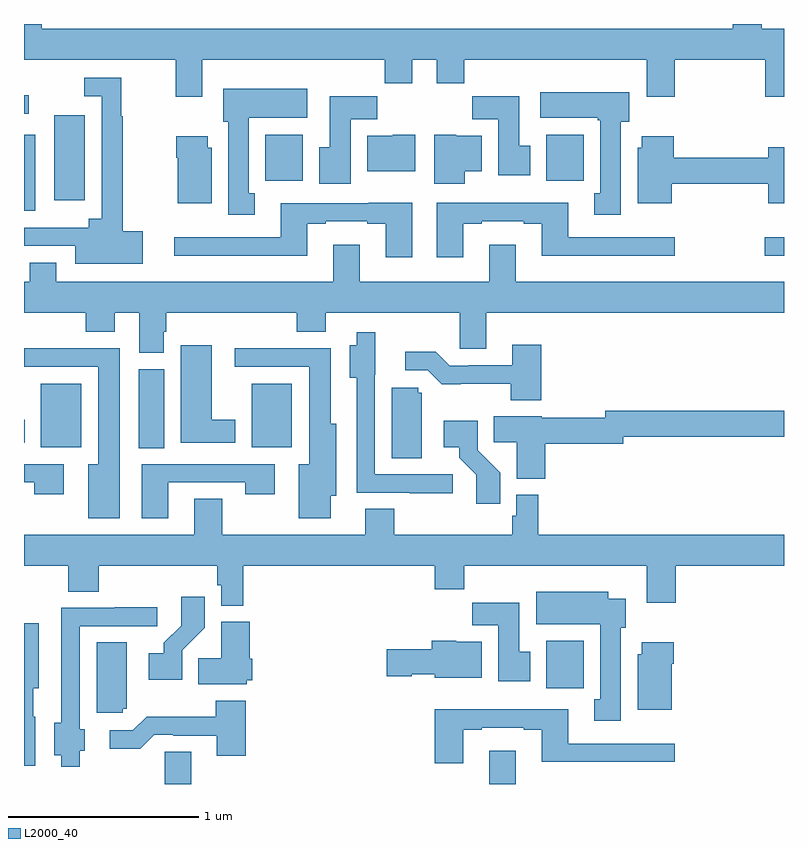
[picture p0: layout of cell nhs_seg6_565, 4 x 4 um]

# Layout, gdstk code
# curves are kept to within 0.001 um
import gdstk
lib = gdstk.Library(unit=1e-6, precision=1e-09)
def R(c, l, rs):  # rectangles x0, y0, x1, y1
    for r in rs: c.add(gdstk.rectangle(r[:2], r[2:], *l))
def P(c, l, *ps):  # polygons
    for p in ps: c.add(gdstk.Polygon(p, *l))
L2000_40 = (2000, 40)

nhs_seg6_565 = lib.new_cell('nhs_seg6_565')
R(nhs_seg6_565, L2000_40, [(145.74,967.5,145.879,967.67), (147.449,967.5,147.589,967.675), (147.749,968.004,147.945,968.254), (145.604,969.268,145.738,969.684), (145.088,969.272,145.3,969.607), (146.198,969.272,146.41,969.607), (145,969.296,145.003,969.418), (148.899,970.28,149,970.377), (145,970.517,145.06,970.918), (145.16,970.572,145.321,971.02), (146.27,970.676,146.467,970.918), (147.749,970.676,147.946,970.918), (145,971.028,145.024,971.124)])
P(nhs_seg6_565, L2000_40, [(145.093,971.5),(145,971.5),(145,971.312),(145.799,971.312),(145.799,971.118),(145.939,971.118),(145.939,971.312),(146.899,971.312),(146.899,971.188),(147.043,971.188),(147.043,971.312),(147.173,971.312),(147.173,971.188),(147.317,971.188),(147.317,971.312),(148.277,971.312),(148.277,971.118),(148.425,971.118),(148.425,971.312),(148.9,971.312),(148.9,971.118),(149,971.118),(149,971.476),(148.882,971.476),(148.882,971.5),(148.73,971.5),(148.73,971.476),(145.093,971.476)],
  [(145.624,970.409),(145.519,970.409),(145.519,971.014),(145.511,971.014),(145.511,971.217),(145.317,971.217),(145.317,971.121),(145.41,971.121),(145.41,970.474),(145.34,970.474),(145.34,970.428),(145,970.428),(145,970.332),(145.271,970.332),(145.271,970.238),(145.624,970.238)],
  [(146.215,970.61),(146.182,970.61),(146.182,971.006),(146.491,971.006),(146.491,971.158),(146.048,971.158),(146.048,970.986),(146.075,970.986),(146.075,970.497),(146.215,970.497)],
  [(148.141,970.986),(148.186,970.986),(148.186,971.14),(147.717,971.14),(147.717,971.006),(148.021,971.006),(148.021,970.993),(148.034,970.993),(148.034,970.61),(148.001,970.61),(148.001,970.497),(148.141,970.497)],
  [(146.719,971),(146.858,971),(146.858,971.119),(146.609,971.119),(146.609,970.852),(146.555,970.852),(146.555,970.659),(146.719,970.659)],
  [(147.664,970.86),(147.607,970.86),(147.607,971.119),(147.358,971.119),(147.358,971),(147.497,971),(147.497,970.704),(147.664,970.704)],
  [(147.058,970.918),(146.94,970.918),(146.94,970.912),(146.807,970.912),(146.807,970.724),(147.058,970.724)],
  [(147.319,970.724),(147.409,970.724),(147.409,970.912),(147.276,970.912),(147.276,970.918),(147.158,970.918),(147.158,970.659),(147.319,970.659)],
  [(145.987,970.848),(145.966,970.848),(145.966,970.909),(145.801,970.909),(145.801,970.796),(145.808,970.796),(145.808,970.556),(145.987,970.556)],
  [(148.408,970.66),(148.916,970.66),(148.916,970.556),(149,970.556),(149,970.852),(148.916,970.852),(148.916,970.796),(148.421,970.796),(148.421,970.909),(148.25,970.909),(148.25,970.848),(148.229,970.848),(148.229,970.556),(148.408,970.556)],
  [(147.043,970.558),(146.815,970.558),(146.815,970.557),(146.351,970.557),(146.351,970.377),(145.791,970.377),(145.791,970.28),(146.491,970.28),(146.491,970.449),(146.587,970.449),(146.587,970.461),(146.807,970.461),(146.807,970.449),(146.903,970.449),(146.903,970.272),(147.043,970.272)],
  [(147.313,970.449),(147.409,970.449),(147.409,970.461),(147.629,970.461),(147.629,970.449),(147.725,970.449),(147.725,970.28),(148.426,970.28),(148.426,970.377),(147.865,970.377),(147.865,970.558),(147.173,970.558),(147.173,970.272),(147.313,970.272)],
  [(145.735,969.879),(145.748,969.879),(145.748,969.98),(146.435,969.98),(146.435,969.881),(146.587,969.881),(146.587,969.98),(147.294,969.98),(147.294,969.79),(147.433,969.79),(147.433,969.98),(149,969.98),(149,970.144),(147.589,970.144),(147.589,970.339),(147.449,970.339),(147.449,970.144),(146.767,970.144),(146.767,970.339),(146.627,970.339),(146.627,970.144),(145.171,970.144),(145.171,970.243),(145.031,970.243),(145.031,970.144),(145,970.144),(145,969.98),(145.325,969.98),(145.325,969.881),(145.477,969.881),(145.477,969.98),(145.607,969.98),(145.607,969.769),(145.735,969.769)],
  [(147.256,969.129),(146.847,969.129),(146.847,969.654),(146.848,969.654),(146.848,969.877),(146.75,969.877),(146.75,969.808),(146.714,969.808),(146.714,969.638),(146.751,969.638),(146.751,969.033),(147.031,969.033),(147.031,969.031),(147.256,969.031)],
  [(147.722,969.811),(147.569,969.811),(147.569,969.705),(147.34,969.705),(147.34,969.702),(147.24,969.702),(147.167,969.775),(147.006,969.775),(147.006,969.678),(147.126,969.678),(147.199,969.605),(147.562,969.606),(147.562,969.521),(147.722,969.521)],
  [(146.113,969.418),(145.987,969.418),(145.987,969.808),(145.826,969.808),(145.826,969.296),(146.113,969.296)],
  [(146.614,969.017),(146.644,969.017),(146.644,969.397),(146.614,969.397),(146.614,969.794),(146.109,969.794),(146.109,969.696),(146.501,969.696),(146.501,969.184),(146.447,969.184),(146.447,968.898),(146.614,968.898)],
  [(145.504,969.794),(145,969.794),(145,969.696),(145.391,969.696),(145.391,969.184),(145.337,969.184),(145.337,968.898),(145.504,968.898)],
  [(147.094,969.558),(147.075,969.558),(147.075,969.585),(146.936,969.585),(146.936,969.214),(147.094,969.214)],
  [(147.743,969.292),(148.155,969.292),(148.155,969.328),(149,969.328),(149,969.464),(148.059,969.464),(148.059,969.428),(147.726,969.428),(147.726,969.436),(147.472,969.436),(147.472,969.298),(147.593,969.298),(147.593,969.107),(147.743,969.107)],
  [(147.506,969.138),(147.387,969.257),(147.387,969.412),(147.21,969.412),(147.21,969.272),(147.29,969.272),(147.29,969.217),(147.381,969.127),(147.381,968.976),(147.506,968.976)],
  [(145.21,969.183),(145,969.183),(145,969.087),(145.054,969.087),(145.054,969.024),(145.21,969.024)],
  [(145.759,969.087),(146.164,969.087),(146.164,969.024),(146.32,969.024),(146.32,969.183),(145.619,969.183),(145.619,968.898),(145.759,968.898)],
  [(146.153,968.648),(147.161,968.648),(147.161,968.524),(147.317,968.524),(147.317,968.648),(148.277,968.648),(148.277,968.454),(148.43,968.454),(148.43,968.648),(149,968.648),(149,968.812),(147.707,968.812),(147.707,969.022),(147.591,969.022),(147.591,968.913),(147.571,968.913),(147.571,968.812),(146.948,968.812),(146.948,968.948),(146.795,968.948),(146.795,968.812),(146.043,968.812),(146.043,969.002),(145.895,969.002),(145.895,968.812),(145,968.812),(145,968.648),(145.234,968.648),(145.234,968.512),(145.394,968.512),(145.394,968.648),(146.017,968.648),(146.017,968.547),(146.037,968.547),(146.037,968.438),(146.153,968.438)],
  [(148.141,968.322),(148.168,968.322),(148.168,968.476),(148.075,968.476),(148.075,968.512),(147.695,968.512),(147.695,968.342),(148.034,968.342),(148.034,967.945),(148.001,967.945),(148.001,967.833),(148.141,967.833)],
  [(145.833,968.203),(145.952,968.322),(145.952,968.485),(145.827,968.485),(145.827,968.333),(145.736,968.243),(145.736,968.188),(145.656,968.188),(145.656,968.048),(145.833,968.048)],
  [(147.664,968.196),(147.607,968.196),(147.607,968.454),(147.358,968.454),(147.358,968.336),(147.497,968.336),(147.497,968.04),(147.664,968.04)],
  [(145.294,967.674),(145.321,967.674),(145.321,967.788),(145.293,967.788),(145.293,968.331),(145.702,968.331),(145.702,968.43),(145.477,968.43),(145.477,968.427),(145.197,968.427),(145.197,967.823),(145.16,967.823),(145.16,967.652),(145.196,967.652),(145.196,967.592),(145.294,967.592)],
  [(146.172,968.046),(146.201,968.046),(146.201,968.16),(146.189,968.16),(146.189,968.353),(146.039,968.353),(146.039,968.162),(145.918,968.162),(145.918,968.024),(146.172,968.024)],
  [(145.06,967.854),(145.048,967.854),(145.048,968.003),(145.078,968.003),(145.078,968.347),(145,968.347),(145,967.595),(145.06,967.595)],
  [(147.409,968.248),(147.276,968.248),(147.276,968.254),(147.146,968.254),(147.146,968.208),(146.91,968.208),(146.91,968.066),(147.042,968.066),(147.042,968.078),(147.162,968.078),(147.162,968.06),(147.409,968.06)],
  [(145.521,967.896),(145.54,967.896),(145.54,968.245),(145.382,968.245),(145.382,967.875),(145.521,967.875)],
  [(148.408,968.132),(148.421,968.132),(148.421,968.245),(148.25,968.245),(148.25,968.184),(148.229,968.184),(148.229,967.892),(148.408,967.892)],
  [(146.168,967.939),(146.008,967.939),(146.008,967.855),(145.645,967.855),(145.572,967.782),(145.452,967.782),(145.452,967.685),(145.613,967.685),(145.686,967.758),(145.786,967.758),(145.786,967.755),(146.015,967.755),(146.015,967.65),(146.168,967.65)],
  [(147.313,967.785),(147.409,967.785),(147.409,967.797),(147.629,967.797),(147.629,967.785),(147.725,967.785),(147.725,967.616),(148.426,967.616),(148.426,967.713),(147.865,967.713),(147.865,967.894),(147.161,967.894),(147.161,967.608),(147.313,967.608)])

lib.write_gds('nhs_seg6_565.gds')
